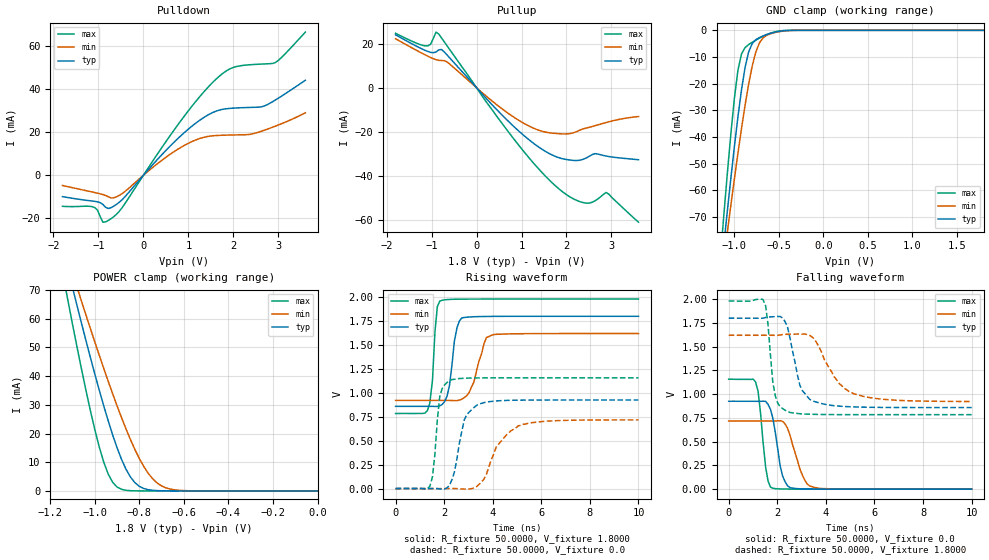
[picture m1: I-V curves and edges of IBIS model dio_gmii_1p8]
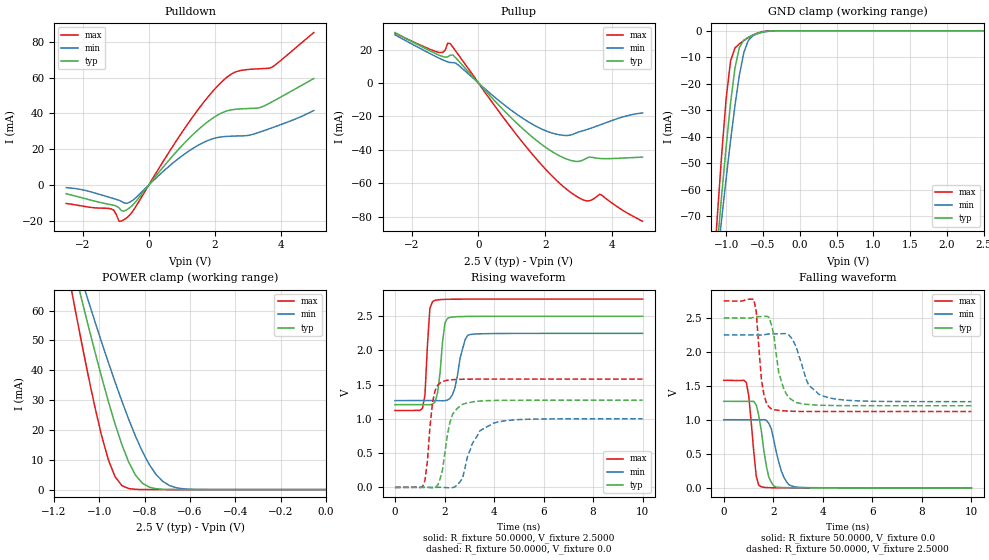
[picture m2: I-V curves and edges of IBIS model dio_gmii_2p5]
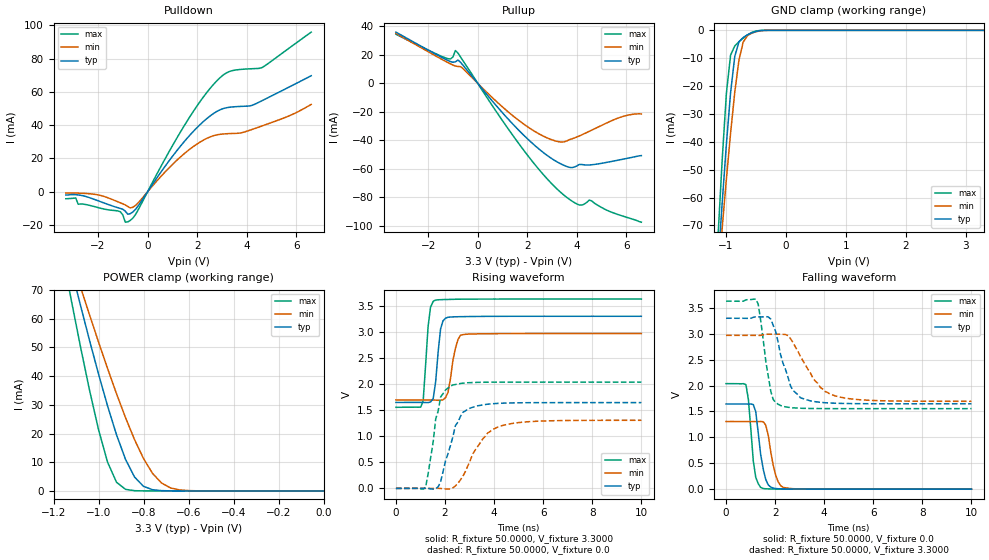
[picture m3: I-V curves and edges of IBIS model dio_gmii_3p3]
|   This file is an IBIS representation of the   |
|   Microchip Technology   |
|   lan8831   |
|=================== Header Section -------------------------------------------|
[IBIS Ver]   4.0
[File Name]   lan8831.ibs
[File Rev]   1.0
[Date]   11 Aug 2022 | Last modified
|   11 Aug 2022 | Created
[Source]   From SPICE model at Microchip Technology
[Notes]
[Disclaimer]   Microchip herby grants the user of this IBIS model a
|   non-exclusive, non-transferrable license to use this
|   IBIS model under the following terms. Before using this
|   this IBIS model, the user should read this license.
|   If the user does not accept these terms. the
|   IBIS model should be returned to Microchip within 30
|   days.
|   The user is granted this license only to use the IBIS
|   model and is not granted rights to sell, load, rent,
|   lease or license the IBIS model in whole or in part, or
|   in modified form to anyone other than the user. User may
|   modify the IBIS model to suit its specific applications
|   but rights to derivative works and such
|   modifications shall belong to Microchip.
|   The IBIS model is provided on an "AS IS" basis
|   and Microchip makes no warranty with respect to the
|   information contained herein. Microchip DISCLAIMS
|   AND CUSTOMER WAIVES ALL WARRANTIES, EXPRESS OR
|   IMPLIED, INCLUDING WARRANTIES OF MERCHANTABILITY
|   OR FITNESS FOR A PARTICULAR PURPOSE. The entire
|   risk as to quality and performance is with the
|   Customer. ACCORDINGLY, IN NO EVENT SHALL THE
|   COMPANY BE LIABLE FOR ANY DAMAGE, WHETHER IN
|   CONTRACT OR TORT, INCLUDING ANY LOST PROFITS
|   OR OTHER INCIDENTAL, CONSEQUENTIAL, EXEMPLARY,
|   OR PUNITIVE DAMAGES ARISING OUT OF THE USE OR
|   APPLICATION OF THE IBIS model provided in this
|   package. Further, Microchip reserves the right to
|   make changes without notice to any product
|   herein to improve reliability, function, or
|   design. Microchip does not convey any license under
|   patent rights or any other intellectual
|   property rights, including those of third parties.
|   Microchip is not obligated to provide maintaince
|   or support for the licensed IBIS model.
[Copyright]   Copyright (C)2022, Microchip Technology, All Rights Reserved
|------------------- End of Header Section ====================================|
|=================== Component Section ----------------------------------------|
|   Component lan8831
[Component]   lan8831
[Manufacturer]  Microchip Technology
[Package]
|   typ   min   max
R_pkg   0.193Ohm   0.110Ohm   0.277Ohm
L_pkg   2.200nH   1.340nH   3.050nH
C_pkg   0.316pF   0.249pF   0.552pF
[pin]   signal_name   model_name   R_pin   L_pin   C_pin
1   VDDAH   POWER   NA   NA   NA
2   VDDAH   POWER   NA   NA   NA
3   TXRXP_A   NC   0.195   2.37nH   0.29pf
4   TXRXM_A   NC   0.200   1.99nH   0.30pf
5   VDDAL   POWER   NA   NA   NA
6   VDDAL   POWER   NA   NA   NA
7   TXRXP_B   NC   0.185   1.77nH   0.28pf
8   TXRXM_B   NC   0.166   2.07nH   0.25pf
9   TXRXP_C   NC   0.165   2.07nH   0.25pf
10   TXRXM_C   NC   0.182   1.79nH   0.28pf
11   VDDAL   POWER   NA   NA   NA
12   VDDAL   POWER   NA   NA   NA
13   TXRXP_D   NC   0.199   1.92nH   0.30pf
14   TXRXM_D   NC   0.188   2.33nH   0.28pf
15   VDDAH   POWER   NA   NA   NA
16   LED5   diosl10p_pupd_3vo   0.267   2.55nH   0.38pf
17   LED4   diosl10p_pupd_3vo   0.240   3.05nH   0.35pf
18   LED3   diosl10p_pupd_3vo   0.228   2.88nH   0.35pf
19   LED2   diosl10p_pupd_3vo   0.215   2.72nH   0.33pf
20   VDDIO   POWER   NA   NA   NA
21   LED1   diosl10p_pupd_3vo   0.192   2.46nH   0.30pf
22   TXD0   diosl10p_pupd_3vo   0.185   2.35nH   0.29pf
23   TXD1   diosl10p_pupd_3vo   0.179   2.25nH   0.28pf
24   TXD2   diosl10p_pupd_3vo   0.178   2.14nH   0.28pf
25   TXD3   diosl10p_pupd_3vo   0.195   1.77nH   0.30pf
26   TXD4   diosl10p_pupd_3vo   0.197   1.77nH   0.31pf
27   TXD5   diosl10p_pupd_3vo   0.182   2.17nH   0.28pf
28   VDD   POWER   NA   NA   NA
29   TXD6   diosl10p_pupd_3vo   0.186   2.37nH   0.29pf
30   TXD7   diosl10p_pupd_3vo   0.198   2.46nH   0.31pf
31   VDDIO   POWER   NA   NA   NA
32   TX_ER   diosl10p_pupd_3vo   0.244   2.28nH   0.36pf
33   GTX_CLK   diosl10p_pupd_3vo   0.241   2.33nH   0.34pf
34   TX_EN   diosl10p_pupd_3vo   0.226   2.24nH   0.34pf
35   VDD   POWER   NA   NA   NA
36   RXD7   diosl_rgmiilv_3vo   0.202   2.06nH   0.31pf
37   RXD6   diosl_rgmiilv_3vo   0.182   2.16nH   0.28pf
38   RXD5   diosl_rgmiilv_3vo   0.175   2.07nH   0.27pf
39   RXD4   diosl_rgmiilv_3vo   0.187   1.77nH   0.29pf
40   VDDIO   POWER   NA   NA   NA
41   RXD3   diosl_rgmiilv_3vo   0.173   2.00nH   0.27pf
42   RXD2   diosl_rgmiilv_3vo   0.185   1.86nH   0.28pf
43   VDD   POWER   NA   NA   NA
44   RXD1   diosl_rgmiilv_3vo   0.186   2.21nH   0.29pf
45   RXD0   diosl_rgmiilv_3vo   0.196   2.30nH   0.31pf
46   RX_DV   diosl_rgmiilv_3vo   0.223   2.17nH   0.33pf
47   VDDIO   POWER   NA   NA   NA
48   RX_ER   diosl_rgmiilv_3vo   0.233   2.70nH   0.34pf
49   RX_CLK   diosl_rgmiilv_3vo   0.277   2.19nH   0.42pf
50   CRS   diosl_rgmiilv_3vo   0.236   2.18nH   0.34pf
51   MDC   diosl10p_pupd_3vo   0.193   2.33nH   0.29pf
52   MDIO   diosl10p_pupd_3vo   0.185   2.29nH   0.29pf
53   COL   diosl10p_pupd_3vo   0.181   2.18nH   0.28pf
54   INT_N   diosl10p_pupd_3vo   0.190   1.88nH   0.29pf
55   VDD   POWER   NA   NA   NA
56   VDDIO   POWER   NA   NA   NA
57   CLK125_NDO   diosl10p_pupd_3vo   0.194   1.98nH   0.29pf
58   RESET_N   diosl10p_pupd_3vo   0.197   2.07nH   0.30pf
59   TX_CLK   diosl_rgmiilv_3vo   0.197   2.27nH   0.29pf
60   LDO_O   apada_5   0.211   2.10nH   0.31pf
61   XO   apada_5   0.217   2.24nH   0.32pf
62   XI   apada_5   0.237   2.12nH   0.35pf
63   VDDAL_PLL   POWER   NA   NA   NA
64   ISET   NC   0.220   2.26nH   0.30pf
|------------------- End of Component Section =================================|
| Remark: If your software does not support the Model Selector
|   Please comment out the lines of the Model Selector, which
|   contain the name of the Model, except the one you want to use.
[Model Selector]   diosl_rgmiilv_3vo
dio_gmii_1p8   1.8V gmii mode I/O Model
dio_gmii_2p5   2.5V gmii mode I/O Model
dio_gmii_3p3   3.3V gmii mode I/O Model
dio_rgmii_1p8   1.8V rgmii mode  I/O Model
dio_rgmii_2p5   2.5V rgmii mode  I/O Model
dio_rgmii_3p3   3.3V rgmii mode  I/O Model
[Model Selector]   diosl10p_pupd_3vo
dio10p_3vo_00_1p8   1.8V 2mA drive I/O Model
dio10p_3vo_00_2p5   2.5V 2mA drive I/O Model
dio10p_3vo_00_3p3   3.3V 2mA drive I/O Model
dio10p_3vo_01_1p8   1.8V 4mA drive I/O Model
dio10p_3vo_01_2p5   2.5V 4mA drive I/O Model
dio10p_3vo_01_3p3   3.3V 4mA drive I/O Model
dio10p_3vo_10_1p8   1.8V 8mA drive I/O Model
dio10p_3vo_10_2p5   2.5V 8mA drive I/O Model
dio10p_3vo_10_3p3   3.3V 8mA drive I/O Model
dio10p_3vo_11_1p8   1.8V 10mA drive I/O Model
dio10p_3vo_11_2p5   2.5V 10mA drive I/O Model
dio10p_3vo_11_3p3   3.3V 10mA drive I/O Model
| Models and submodels in the file (19): dio_gmii_1p8 (I/O), dio_gmii_2p5 (I/O), dio_gmii_3p3 (I/O), dio_rgmii_1p8 (I/O), dio_rgmii_2p5 (I/O), dio_rgmii_3p3 (I/O), dio10p_3vo_00_1p8 (I/O), dio10p_3vo_00_2p5 (I/O), dio10p_3vo_00_3p3 (I/O), dio10p_3vo_01_1p8 (I/O), dio10p_3vo_01_2p5 (I/O), dio10p_3vo_01_3p3 (I/O), dio10p_3vo_10_1p8 (I/O), dio10p_3vo_10_2p5 (I/O), dio10p_3vo_10_3p3 (I/O), dio10p_3vo_11_1p8 (I/O), dio10p_3vo_11_2p5 (I/O), dio10p_3vo_11_3p3 (I/O), apada_5 (Input)
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|   Models
[Model]  dio_gmii_1p8
Model_type I/O
Polarity   Non-Inverting
Enable   Active-Low
Vinl =   0.702V
Vinh =   1.134V
C_comp   1.96pF   1.764pF   2.156pF
Vmeas =  0.9000V
Vref =   0.0V
[Temperature Range]   42.0000   0.1250k   -40.0000
[Voltage Range]   1.8000V   1.6200V   1.9800V
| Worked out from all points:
|   slope of the pulldown table from 0 to 0.27 V, typ, clamps not added: 42.3 ohm
|   slope of the pullup table from 0 to 0.27 V, typ, clamps not added: 44.3 ohm
|   GND clamp passes 1 mA (typ) near -0.58 V on its own axis
|   POWER clamp passes 1 mA (typ) near -0.78 V on its own axis
|   rising waveform, R_fixture 50.0000, V_fixture 1.8000: 20-80 % time 284ps typ, 485ps min, 191ps max; typ from 0.859 V to 1.8 V
|   rising waveform, R_fixture 50.0000, V_fixture 0.0: 20-80 % time 442ps typ, 903ps min, 239ps max; typ from 0 V to 0.926 V
|   falling waveform, R_fixture 50.0000, V_fixture 0.0: 20-80 % time 352ps typ, 527ps min, 266ps max; typ from 0.925 V to 0 V
|   falling waveform, R_fixture 50.0000, V_fixture 1.8000: 20-80 % time 508ps typ, 1ns min, 275ps max; typ from 1.8 V to 0.859 V
[Pulldown]
|Voltage   I(typ)   I(min)   I(max)
-1.8V     -9.903mA   -4.731mA   -14.39mA
-1.14V    -11.94mA   -7.75mA    -14.54mA
-1.02V    -12.3mA    -8.306mA   -16.17mA
-900mV    -13.52mA   -8.931mA   -21.76mA
-720mV    -15.01mA   -10.48mA   -20.14mA
-480mV    -11.46mA   -8.579mA   -15.24mA
780mV     17.3mA     12.27mA    23.8mA
1.56V     29.27mA    18.34mA    43.47mA
2.04V     31.19mA    18.71mA    50.27mA
2.64V     31.81mA    20.53mA    51.58mA
2.94V     34.99mA    22.83mA    52.36mA
3.6V      44.06mA    28.99mA    66.4mA
[Pullup]
|Voltage   I(typ)   I(min)   I(max)
-1.8V     24.07mA    22.29mA    24.76mA
-1.14V    16.96mA    14.92mA    19.01mA
-1.02V    16.09mA    13.74mA    19.81mA
-900mV    16.26mA    12.76mA    25.31mA
-840mV    17.21mA    12.46mA    24.42mA
-660mV    15.01mA    11.79mA    19.21mA
780mV     -16.7mA    -12.72mA   -22mA
1.44V     -27.8mA    -19.71mA   -38.23mA
1.86V     -32.02mA   -20.94mA   -46.49mA
2.34V     -32.76mA   -18.93mA   -52.09mA
2.88V     -31.08mA   -15.83mA   -47.69mA
3.6V      -32.77mA   -13.12mA   -61.17mA
[GND_clamp]
|Voltage   I(typ)   I(min)   I(max)
-1.8V     -318.4mA   -274.2mA   -373.5mA
-1.16V    -94.27mA   -97.02mA   -86.76mA
-1.12V    -81.14mA   -86.49mA   -70.22mA
-1.08V    -68.29mA   -76.1mA    -54.25mA
-1V       -43.83mA   -55.91mA   -25.69mA
-960mV    -32.57mA   -46.23mA   -15.04mA
-920mV    -22.42mA   -36.94mA   -8.899mA
-840mV    -8.146mA   -20.28mA   -5.358mA
-760mV    -3.544mA   -8.246mA   -3.7mA
-680mV    -2.146mA   -2.936mA   -2.277mA
-440mV    -142.1uA   -236.7uA   -59.27uA
1.8V      272.5pA    9.231nA    -105.6pA
[POWER_clamp]
|Voltage   I(typ)   I(min)   I(max)
-1.8V     305mA      257.8mA    363.6mA
-1.12V    77.07mA    80.82mA    66.04mA
-1.08V    64.61mA    71mA       50.19mA
-1.06V    58.48mA    66.15mA    42.53mA
-980mV    35.1mA     47.26mA    15.3mA
-940mV    24.45mA    38.24mA    5.894mA
-880mV    11mA       25.53mA    557.7uA
-840mV    4.852mA    17.89mA    83.67uA
-800mV    1.594mA    11.28mA    12.03uA
-740mV    210.4uA    4.206mA    649.8nA
-680mV    24.58uA    1.046mA    35.54nA
0V        272.5pA    3.415nA    219.1pA
[Ramp]
| variable   typ   min   max
dV/dt_r  0.5553/0.4590n   0.4308/0.9072n   0.6942/0.2258n
dV/dt_f  0.5647/0.5499n   0.4185/0.9990n   0.7175/0.2836n
R_load = 50.0000
[Rising Waveform]
R_fixture= 50.0000
V_fixture= 1.8000
V_fixture_min= 1.6200
V_fixture_max= 1.9800
|time   V(typ)   V(min)   V(max)
0s        858.9mV    921.3mV    784.4mV
1.31ns    859.2mV    921.4mV    814.6mV
1.52ns    859.1mV    921.4mV    1.132V
1.72ns    858.5mV    921.5mV    1.9V
1.82ns    864.4mV    921.5mV    1.958V
2.12ns    966mV      921.4mV    1.975V
2.42ns    1.537V     919mV      1.978V
2.73ns    1.783V     934.1mV    1.979V
3.94ns    1.799V     1.601V     1.98V
10ns      1.8V       1.62V      1.98V
[Rising Waveform]
R_fixture= 50.0000
V_fixture= 0.0
V_fixture_min= 0.0
V_fixture_max= 0.0
|time   V(typ)   V(min)   V(max)
0s        169uV      107.4uV    343.4uV
1.41ns    528.8uV    114.3uV    23.38mV
1.52ns    1.045mV    105.3uV    123mV
1.82ns    -3.763mV   130uV      962.3mV
2.22ns    34.43mV    528.1uV    1.128V
2.83ns    718.3mV    -5.332mV   1.153V
3.43ns    884.2mV    41.96mV    1.156V
4.14ns    915.2mV    431.1mV    1.157V
5.05ns    923.7mV    655.2mV    1.157V
10ns      925.5mV    717.9mV    1.157V
[Falling Waveform]
R_fixture= 50.0000
V_fixture= 0.0
V_fixture_min= 0.0
V_fixture_max= 0.0
|time   V(typ)   V(min)   V(max)
0s        925.3mV    718.1mV    1.157V
1.11ns    924.8mV    717.8mV    1.126V
1.21ns    924.5mV    717.8mV    1.03V
1.52ns    924.8mV    717.7mV    235.5mV
1.82ns    745.6mV    717.3mV    9.661mV
2.22ns    137.8mV    713.2mV    1.993mV
2.53ns    15.76mV    563.9mV    973.2uV
3.03ns    3.265mV    150.6mV    337.5uV
3.43ns    1.514mV    25.48mV    164.2uV
10ns      979.7nV    11.7uV     1.179uV
[Falling Waveform]
R_fixture= 50.0000
V_fixture= 1.8000
V_fixture_min= 1.6200
V_fixture_max= 1.9800
|time   V(typ)   V(min)   V(max)
0s        1.8V       1.62V      1.98V
1.41ns    1.8V       1.62V      1.996V
1.52ns    1.807V     1.62V      1.933V
1.92ns    1.816V     1.619V     981.4mV
2.42ns    1.71V      1.63V      817.6mV
2.93ns    1.093V     1.634V     793.8mV
3.43ns    929.6mV    1.603V     788mV
4.34ns    878.8mV    1.183V     784.8mV
5.15ns    865.9mV    1.004V     784.3mV
10ns      858.8mV    922.5mV    784.1mV
[Model]  dio_gmii_2p5
Model_type I/O
Polarity   Non-Inverting
Enable   Active-Low
Vinl =   0.975V
Vinh =   1.575V
C_comp   1.96pF   1.764pF   2.156pF
Vmeas =  1.2500V
Vref =   0.0V
[Temperature Range]   42.0000   0.1250k   -40.0000
[Voltage Range]   2.5000V   2.2500V   2.7500V
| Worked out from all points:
|   slope of the pulldown table from 0 to 0.375 V, typ, clamps not added: 43.3 ohm
|   slope of the pullup table from 0 to 0.375 V, typ, clamps not added: 45.3 ohm
|   GND clamp passes 1 mA (typ) near -0.58 V on its own axis
|   POWER clamp passes 1 mA (typ) near -0.78 V on its own axis
|   rising waveform, R_fixture 50.0000, V_fixture 2.5000: 20-80 % time 212ps typ, 327ps min, 150ps max; typ from 1.21 V to 2.5 V
|   rising waveform, R_fixture 50.0000, V_fixture 0.0: 20-80 % time 364ps typ, 621ps min, 244ps max; typ from 0 V to 1.27 V
|   falling waveform, R_fixture 50.0000, V_fixture 0.0: 20-80 % time 327ps typ, 418ps min, 240ps max; typ from 1.27 V to 0 V
|   falling waveform, R_fixture 50.0000, V_fixture 2.5000: 20-80 % time 389ps typ, 633ps min, 241ps max; typ from 2.5 V to 1.21 V
[Pulldown]
|Voltage   I(typ)   I(min)   I(max)
-2.5V     -4.795mA   -1.411mA   -10.27mA
-1.14V    -10.97mA   -7.093mA   -13.26mA
-1.06V    -11.26mA   -7.531mA   -13.97mA
-900mV    -12.7mA    -8.485mA   -20.2mA
-740mV    -14.45mA   -9.987mA   -19.17mA
-420mV    -9.845mA   -7.547mA   -12.81mA
1.18V     25.31mA    18.55mA    34.06mA
2.14V     39.61mA    26.73mA    56.3mA
2.7V      42.41mA    27.41mA    63.54mA
3.34V     43.08mA    29.41mA    64.89mA
3.74V     46.48mA    32mA       65.86mA
5V        59.46mA    41.59mA    85.09mA
[Pullup]
|Voltage   I(typ)   I(min)   I(max)
-2.5V     30.13mA    28.76mA    29.75mA
-1.16V    16.46mA    14.66mA    18.17mA
-1V       15.44mA    13.21mA    19.5mA
-920mV    15.55mA    12.6mA     23.77mA
-840mV    16.69mA    12.21mA    23.45mA
-600mV    13.3mA     10.69mA    16.82mA
1.16V     -24.22mA   -18.85mA   -31.43mA
2.2V      -40.97mA   -29.91mA   -55.5mA
2.92V     -46.96mA   -29.99mA   -67.56mA
3.32V     -44.31mA   -27.42mA   -70.49mA
3.64V     -45.17mA   -25.13mA   -66.56mA
4.92V     -44.35mA   -17.92mA   -82.74mA
[GND_clamp]
|Voltage   I(typ)   I(min)   I(max)
-2.5V     -572mA     -474.1mA   -699.6mA
-1.18V    -100.9mA   -102.3mA   -95.18mA
-1.12V    -81.14mA   -86.49mA   -70.22mA
-1.06V    -61.99mA   -70.97mA   -46.58mA
-1V       -43.81mA   -55.91mA   -25.69mA
-940mV    -27.32mA   -41.52mA   -11.36mA
-880mV    -14.01mA   -28.22mA   -6.489mA
-820mV    -6.276mA   -16.71mA   -4.911mA
-760mV    -3.544mA   -8.246mA   -3.7mA
-700mV    -2.427mA   -3.727mA   -2.611mA
-340mV    -10.35uA   -33.36uA   -1.32uA
2.5V      357.1pA    13.25nA    231.7pA
[POWER_clamp]
|Voltage   I(typ)   I(min)   I(max)
-2.5V     547.8mA    446.2mA    680.7mA
-1.14V    83.4mA     85.78mA    74.17mA
-1.11V    73.93mA    78.35mA    62.02mA
-1.08V    64.61mA    71mA       50.18mA
-1.05V    55.45mA    63.74mA    38.78mA
-990mV    37.89mA    49.56mA    18.25mA
-930mV    21.95mA    36.04mA    4.29mA
-840mV    4.852mA    17.89mA    83.67uA
-780mV    836.4uA    8.492mA    4.549uA
-720mV    103.3uA    2.757mA    246.2nA
-600mV    1.373uA    116.5uA    1.561nA
0V        357.1pA    3.64nA     315.8pA
[Ramp]
| variable   typ   min   max
dV/dt_r  0.7640/0.3726n   0.6016/0.6724n   0.9491/0.2003n
dV/dt_f  0.7750/0.3951n   0.5890/0.6724n   0.9763/0.2203n
R_load = 50.0000
[Rising Waveform]
R_fixture= 50.0000
V_fixture= 2.5000
V_fixture_min= 2.2500
V_fixture_max= 2.7500
|time   V(typ)   V(min)   V(max)
0s        1.208V     1.268V     1.123V
1.11ns    1.209V     1.269V     1.158V
1.21ns    1.209V     1.269V     1.347V
1.41ns    1.208V     1.269V     2.619V
1.62ns    1.249V     1.268V     2.733V
2.02ns    2.406V     1.268V     2.747V
2.12ns    2.47V      1.276V     2.748V
2.42ns    2.491V     1.454V     2.749V
2.93ns    2.497V     2.22V      2.75V
10ns      2.5V       2.25V      2.75V
[Rising Waveform]
R_fixture= 50.0000
V_fixture= 0.0
V_fixture_min= 0.0
V_fixture_max= 0.0
|time   V(typ)   V(min)   V(max)
0s        172.8uV    88.32uV    313.3uV
1.11ns    1.074mV    269.3uV    9.188mV
1.31ns    2.079mV    236.9uV    383.5mV
1.52ns    -5.772mV   398.8uV    1.249V
1.92ns    260mV      1.021mV    1.545V
2.22ns    950.7mV    -6.662mV   1.57V
2.73ns    1.215V     135.3mV    1.58V
3.13ns    1.249V     646.1mV    1.581V
3.94ns    1.27V      935.8mV    1.582V
10ns      1.273V     1.003V     1.582V
[Falling Waveform]
R_fixture= 50.0000
V_fixture= 0.0
V_fixture_min= 0.0
V_fixture_max= 0.0
|time   V(typ)   V(min)   V(max)
0s        1.273V     1.003V     1.582V
910ps     1.272V     1.002V     1.551V
1.01ns    1.272V     1.002V     1.346V
1.31ns    1.222V     1.002V     173.4mV
1.52ns    829.7mV    1.002V     15.14mV
1.72ns    317.9mV    994.2mV    4.877mV
1.92ns    79.32mV    868.1mV    2.378mV
2.32ns    5.341mV    252.4mV    783uV
2.73ns    1.996mV    29.61mV    268.9uV
10ns      893nV      1.575uV    1.596uV
[Falling Waveform]
R_fixture= 50.0000
V_fixture= 2.5000
V_fixture_min= 2.2500
V_fixture_max= 2.7500
|time   V(typ)   V(min)   V(max)
0s        2.5V       2.25V      2.75V
1.21ns    2.511V     2.25V      2.775V
1.31ns    2.519V     2.25V      2.597V
1.52ns    2.521V     2.248V     1.59V
1.92ns    2.402V     2.265V     1.163V
2.42ns    1.459V     2.27V      1.133V
2.93ns    1.255V     2.068V     1.125V
3.43ns    1.226V     1.512V     1.124V
4.04ns    1.214V     1.347V     1.123V
10ns      1.208V     1.268V     1.123V
[Model]  dio_gmii_3p3
Model_type I/O
Polarity   Non-Inverting
Enable   Active-Low
Vinl =   1.287V
Vinh =   2.079V
C_comp   1.96pF   1.764pF   2.156pF
Vmeas =  1.6500V
Vref =   0.0V
[Temperature Range]   42.0000   0.1250k   -40.0000
[Voltage Range]   3.3000V   2.9700V   3.6300V
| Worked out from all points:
|   slope of the pulldown table from 0 to 0.495 V, typ, clamps not added: 45.5 ohm
|   slope of the pullup table from 0 to 0.495 V, typ, clamps not added: 47.1 ohm
|   GND clamp passes 1 mA (typ) near -0.58 V on its own axis
|   POWER clamp passes 1 mA (typ) near -0.78 V on its own axis
|   rising waveform, R_fixture 50.0000, V_fixture 3.3000: 20-80 % time 202ps typ, 278ps min, 188ps max; typ from 1.65 V to 3.3 V
|   rising waveform, R_fixture 50.0000, V_fixture 0.0: 20-80 % time 645ps typ, 952ps min, 421ps max; typ from 0 V to 1.65 V
|   falling waveform, R_fixture 50.0000, V_fixture 0.0: 20-80 % time 290ps typ, 312ps min, 225ps max; typ from 1.65 V to 0 V
|   falling waveform, R_fixture 50.0000, V_fixture 3.3000: 20-80 % time 586ps typ, 1.02ns min, 370ps max; typ from 3.3 V to 1.65 V
[Pulldown]
|Voltage   I(typ)   I(min)   I(max)
-3.3V     -1.98mA    -772.5uA   -4.214mA
-2.9V     -1.775mA   -809.9uA   -3.748mA
-2.8V     -1.914mA   -847.9uA   -7.516mA
-1.9V     -5.972mA   -2.214mA   -9.896mA
-1.1V     -10.05mA   -6.646mA   -12.03mA
-900mV    -11.68mA   -7.937mA   -18.3mA
-700mV    -13.19mA   -9.733mA   -17.23mA
1.5V      30.5mA     23.13mA    40.19mA
2.8V      48.28mA    34.2mA     66.74mA
3.4V      50.91mA    34.98mA    72.67mA
4.6V      54.56mA    39.43mA    74.46mA
6.6V      69.68mA    52.47mA    95.89mA
[Pullup]
|Voltage   I(typ)   I(min)   I(max)
-3.3V     35.92mA    35.04mA    34.38mA
-1.2V     16.01mA    14.5mA     17.28mA
-1V       14.77mA    12.78mA    18.42mA
-900mV    15.08mA    12.11mA    22.99mA
-700mV    14.88mA    11.71mA    18.62mA
1.7V      -33.7mA    -26.6mA    -43.31mA
3V        -52.95mA   -39.64mA   -70.68mA
3.8V      -59.1mA    -38.92mA   -82.57mA
4.2V      -56.91mA   -36.11mA   -85.39mA
4.5V      -57.26mA   -33.65mA   -81.91mA
5.7V      -53.76mA   -24.12mA   -92.24mA
6.6V      -50.69mA   -21.46mA   -97.38mA
[GND_clamp]
|Voltage   I(typ)   I(min)   I(max)
-3.3V     -865.4mA   -704.8mA   -1.077A
-1.13V    -84.4mA    -89.11mA   -74.3mA
-1.06V    -61.99mA   -70.97mA   -46.58mA
-990mV    -40.93mA   -53.45mA   -22.69mA
-920mV    -22.42mA   -36.95mA   -8.899mA
-850mV    -9.342mA   -22.17mA   -5.599mA
-780mV    -4.139mA   -10.64mA   -4.089mA
-710mV    -2.579mA   -4.232mA   -2.784mA
-640mV    -1.642mA   -1.944mA   -1.66mA
-570mV    -916uA     -1.048mA   -790.7uA
-290mV    -2.055uA   -9.81uA    -144.5nA
3.3V      549.4pA    59.94nA    448.7pA
[POWER_clamp]
|Voltage   I(typ)   I(min)   I(max)
-3.28V    820.8mA    663.8mA    1.037A
-1.16V    89.77mA    90.77mA    82.4mA
-1.12V    77.07mA    80.82mA    66.03mA
-1.08V    64.6mA     71mA       50.17mA
-1.04V    52.45mA    61.34mA    35.12mA
-960mV    29.66mA    42.7mA     10.06mA
-920mV    19.55mA    33.87mA    3.016mA
-880mV    11mA       25.52mA    557.8uA
-800mV    1.595mA    11.28mA    12.03uA
-720mV    103.3uA    2.757mA    248.6nA
-640mV    5.812uA    357.2uA    7.94nA
0V        549.4pA    3.931nA    814.1pA
[Ramp]
| variable   typ   min   max
dV/dt_r  0.9871/0.6282n   0.7835/0.9724n   1.2227/0.3878n
dV/dt_f  0.9911/0.6188n   0.7642/0.9938n   1.2451/0.3605n
R_load = 50.0000
[Rising Waveform]
R_fixture= 50.0000
V_fixture= 3.3000
V_fixture_min= 2.9700
V_fixture_max= 3.6300
|time   V(typ)   V(min)   V(max)
0s        1.648V     1.696V     1.555V
1.11ns    1.649V     1.697V     1.677V
1.31ns    1.646V     1.697V     3.101V
1.41ns    1.656V     1.696V     3.474V
1.62ns    2.051V     1.692V     3.611V
1.82ns    3.058V     1.69V      3.618V
2.12ns    3.281V     1.838V     3.623V
2.42ns    3.29V      2.679V     3.626V
2.63ns    3.292V     2.935V     3.627V
10ns      3.3V       2.97V      3.63V
[Rising Waveform]
R_fixture= 50.0000
V_fixture= 0.0
V_fixture_min= 0.0
V_fixture_max= 0.0
|time   V(typ)   V(min)   V(max)
0s        150.5uV    90.95uV    313.2uV
1.21ns    3.428mV    425.2uV    24.73mV
1.52ns    -14.36mV   1.423mV    899.1mV
1.62ns    -5.918mV   2.06mV     1.332V
1.82ns    125.1mV    -792.8uV   1.752V
2.32ns    989.2mV    10.83mV    1.983V
2.73ns    1.46V      235.6mV    2.018V
3.54ns    1.602V     951.8mV    2.035V
4.14ns    1.63V      1.175V     2.037V
10ns      1.645V     1.306V     2.038V
[Falling Waveform]
R_fixture= 50.0000
V_fixture= 0.0
V_fixture_min= 0.0
V_fixture_max= 0.0
|time   V(typ)   V(min)   V(max)
0s        1.645V     1.306V     2.038V
810ps     1.644V     1.306V     2.018V
910ps     1.642V     1.306V     1.734V
1.11ns    1.633V     1.305V     545.2mV
1.21ns    1.496V     1.305V     228.3mV
1.41ns    671.6mV    1.307V     33.46mV
1.72ns    82.96mV    1.042V     5.714mV
2.02ns    11.67mV    274.2mV    3.096mV
2.32ns    5.402mV    35.82mV    2.097mV
10ns      -542.8nV   3.284uV    120.9nV
[Falling Waveform]
R_fixture= 50.0000
V_fixture= 3.3000
V_fixture_min= 2.9700
V_fixture_max= 3.6300
|time   V(typ)   V(min)   V(max)
0s        3.3V       2.97V      3.63V
1.21ns    3.328V     2.969V     3.67V
1.31ns    3.327V     2.968V     3.574V
1.82ns    3.284V     2.992V     1.895V
2.22ns    2.6V       2.993V     1.616V
2.63ns    1.99V      2.902V     1.577V
3.03ns    1.764V     2.564V     1.563V
3.84ns    1.677V     1.965V     1.556V
4.44ns    1.659V     1.801V     1.555V
10ns      1.648V     1.696V     1.555V
